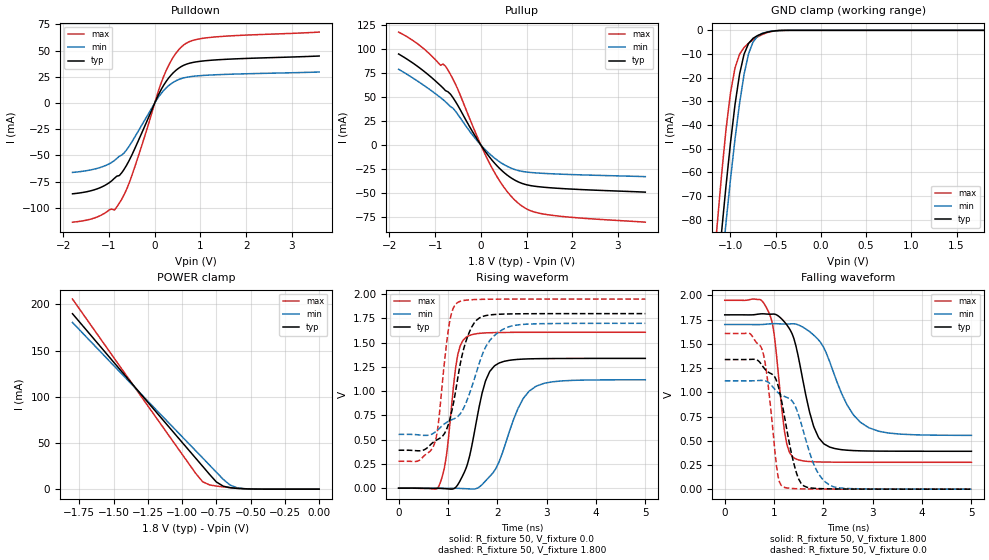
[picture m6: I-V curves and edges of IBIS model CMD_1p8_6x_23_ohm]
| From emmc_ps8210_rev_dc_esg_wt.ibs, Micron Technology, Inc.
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|   Model CMD_1p8_6x_23_ohm
[Model]   CMD_1p8_6x_23_ohm
Model_type   I/O
Vinl   = 0.68V
Vinh   = 1.11V
Vmeas  = 0.90V
|   typ   min   max
C_comp   6.990pF   6.500pF   7.430pF
[Voltage Range]   1.800V   1.700V   1.950V
| Junction Temperature (Ambient temp is 35C typ, 85C min, -25C max)
[Temperature Range]   50.0   100.0   -25.0
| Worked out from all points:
|   slope of the pulldown table from 0 to 0.27 V, typ, clamps not added: 12.4 ohm
|   slope of the pullup table from 0 to 0.27 V, typ, clamps not added: 15.7 ohm
|   GND clamp passes 1 mA (typ) near -0.62 V on its own axis
|   POWER clamp passes 1 mA (typ) near -0.61 V on its own axis
|   rising waveform, R_fixture 50, V_fixture 0.0: 20-80 % time 336ps typ, 504ps min, 205ps max; typ from 0 V to 1.34 V
|   falling waveform, R_fixture 50, V_fixture 1.800: 20-80 % time 366ps typ, 590ps min, 211ps max; typ from 1.8 V to 0.391 V
|   rising waveform, R_fixture 50, V_fixture 1.800: 20-80 % time 351ps typ, 511ps min, 212ps max; typ from 0.391 V to 1.8 V
|   falling waveform, R_fixture 50, V_fixture 0.0: 20-80 % time 320ps typ, 446ps min, 208ps max; typ from 1.34 V to 0 V
[Pulldown]
|   Voltage   I(typ)   I(min)   I(max)
-1.8V     -86.58mA   -66.2mA    -113.7mA
-1.26V    -81.86mA   -62.35mA   -108.7mA
-990mV    -75.84mA   -57.86mA   -101.8mA
-882mV    -71.77mA   -54.8mA    -102.1mA
-774mV    -69.16mA   -50.72mA   -95.45mA
-504mV    -49.92mA   -37.37mA   -69.65mA
198mV     17.11mA    12.05mA    25.58mA
414mV     29.19mA    19.99mA    44.28mA
630mV     35.89mA    23.91mA    55.21mA
846mV     38.78mA    25.48mA    59.86mA
1.278V    40.94mA    26.82mA    62.84mA
3.6V      44.83mA    29.55mA    67.65mA
[GND_clamp]
|   Voltage   I(typ)   I(min)   I(max)
-1.8V     -423.5mA   -425.5mA   -421.7mA
-1.15V    -106.9mA   -121.7mA   -83.42mA
-1.1V     -85.79mA   -101.1mA   -61.61mA
-1.05V    -65.86mA   -81.43mA   -42.03mA
-1V       -47.53mA   -62.91mA   -26.45mA
-950mV    -31.34mA   -45.93mA   -15.87mA
-900mV    -18.56mA   -30.95mA   -10.14mA
-850mV    -10.08mA   -18.57mA   -7.26mA
-800mV    -5.518mA   -9.883mA   -5.408mA
-700mV    -2.184mA   -2.431mA   -2.753mA
-450mV    -66.35uA   -50.69uA   -70.78uA
1.8V      83.71pA    4.239nA    14.85pA
[Pullup]
|   Voltage   I(typ)   I(min)   I(max)
-1.8V     94.91mA    78.99mA    117.8mA
-1.314V   79.46mA    64.39mA    102.9mA
-882mV    61.95mA    49.44mA    83.13mA
-774mV    56.72mA    45.07mA    82.15mA
-612mV    49.52mA    38.45mA    68.91mA
-126mV    9.467mA    7.06mA     13.92mA
252mV     -16.25mA   -11.79mA   -24.62mA
576mV     -31.37mA   -22.25mA   -48.52mA
846mV     -39.03mA   -26.97mA   -61.77mA
1.116V    -42.56mA   -28.77mA   -69.04mA
1.494V    -44.52mA   -29.89mA   -72.92mA
3.6V      -49.19mA   -33.01mA   -80.52mA
[POWER_clamp]
|   Voltage   I(typ)   I(min)   I(max)
-1.8V     189.8mA    180.3mA    205.7mA
-900mV    33.36mA    41.43mA    16.88mA
-850mV    24.71mA    33.74mA    7.997mA
-800mV    16.03mA    26.04mA    4.596mA
-750mV    7.762mA    18.34mA    3.354mA
-700mV    3.218mA    10.64mA    2.457mA
-650mV    1.558mA    4.403mA    1.681mA
-600mV    854.9uA    1.541mA    1.032mA
-500mV    194.5uA    191.2uA    217.2uA
0V        83.62pA    270.5pA    20.77pA
[Ramp]
|   typ   min   max
dV/dt_r   803.04m/336.32p   671.20m/504.04p   964.64m/205.42p
dV/dt_f   845.37m/366.53p   687.26m/589.88p   1.00/210.73p
R_load = 50
[Rising Waveform]
R_fixture = 50
V_fixture = 0.0
|   Time   V(typ)   V(min)   V(max)
0s        4.629nV    13.36nV    1.705nV
820ps     -1.207mV   -2.137mV   26.18mV
970ps     -6.04mV    -1.757mV   341.2mV
1.19ns    28.84mV    -1.705mV   1.351V
1.36ns    197.7mV    -5.608mV   1.553V
1.76ns    1.103V     73.74mV    1.601V
1.95ns    1.264V     185.8mV    1.604V
2.42ns    1.328V     822.2mV    1.607V
2.79ns    1.335V     1.052V     1.607V
5ns       1.338V     1.118V     1.608V
[Falling Waveform]
R_fixture   = 50
V_fixture   = 1.800
V_fixture_min = 1.700
V_fixture_max = 1.950
|   Time   V(typ)   V(min)   V(max)
0s        1.8V       1.7V       1.95V
890ps     1.807V     1.706V     1.828V
1ns       1.808V     1.709V     1.603V
1.25ns    1.702V     1.704V     487.8mV
1.42ns    1.522V     1.707V     317.6mV
1.8ns     652.1mV    1.592V     282.8mV
2.01ns    467.7mV    1.458V     280mV
2.48ns    402.2mV    870.3mV    278.1mV
2.92ns    394mV      634.3mV    277.7mV
5ns       391.2mV    555.4mV    277.5mV
[Rising Waveform]
R_fixture   = 50
V_fixture   = 1.800
V_fixture_min = 1.700
V_fixture_max = 1.950
|   Time   V(typ)   V(min)   V(max)
0s        391mV      554.6mV    277.4mV
420ps     385.4mV    548.6mV    286.9mV
730ps     483.8mV    574.2mV    462.7mV
800ps     504.8mV    603.8mV    644.1mV
1.02ns    677.7mV    692.4mV    1.673V
1.2ns     1.138V     739.3mV    1.915V
1.53ns    1.702V     1.118V     1.944V
1.8ns     1.783V     1.487V     1.948V
2.13ns    1.795V     1.642V     1.949V
5ns       1.8V       1.7V       1.95V
[Falling Waveform]
R_fixture = 50
V_fixture = 0.0
|   Time   V(typ)   V(min)   V(max)
0s        1.338V     1.119V     1.608V
750ps     1.283V     1.123V     1.45V
860ps     1.217V     1.11V      1.158V
1.07ns    1.089V     1.001V     167.6mV
1.18ns    837.3mV    963.5mV    24.36mV
1.45ns    173.6mV    831mV      4.848mV
1.67ns    18.95mV    462.9mV    2.187mV
1.89ns    6.609mV    167.3mV    1.109mV
2.2ns     2.505mV    25.52mV    434.1uV
5ns       33.67uV    76.79uV    23.27uV
